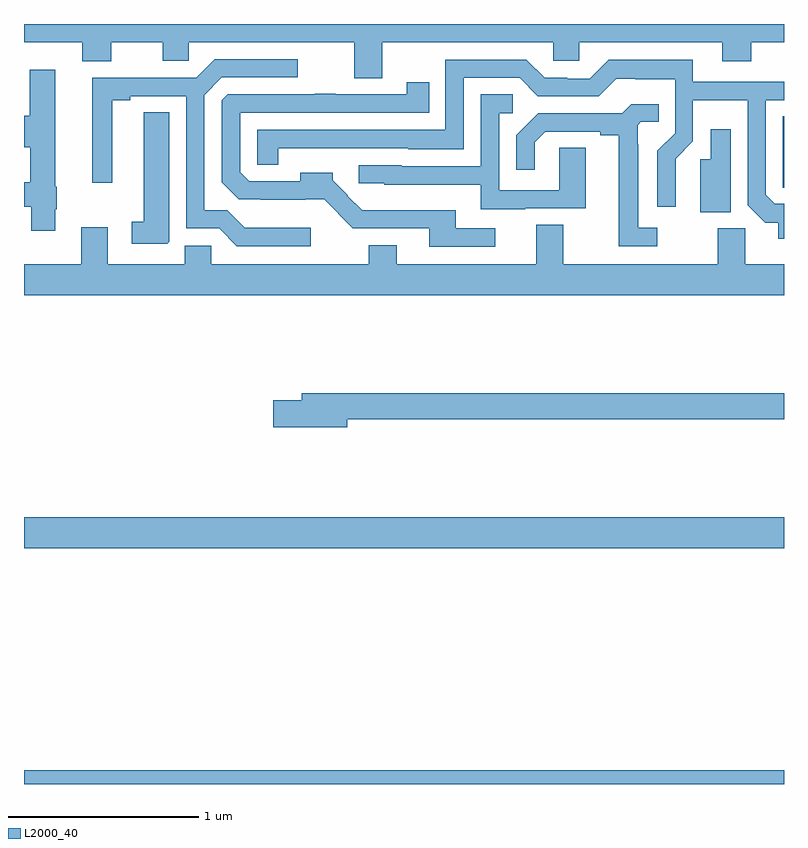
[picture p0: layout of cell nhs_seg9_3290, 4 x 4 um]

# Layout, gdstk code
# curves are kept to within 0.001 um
import gdstk
lib = gdstk.Library(unit=1e-6, precision=1e-09)
def R(c, l, rs):  # rectangles x0, y0, x1, y1
    for r in rs: c.add(gdstk.rectangle(r[:2], r[2:], *l))
def P(c, l, *ps):  # polygons
    for p in ps: c.add(gdstk.Polygon(p, *l))
L2000_40 = (2000, 40)

nhs_seg9_3290 = lib.new_cell('nhs_seg9_3290')
R(nhs_seg9_3290, L2000_40, [(299,1208.5,303,1208.572), (299,1209.74,303,1209.904)])
P(nhs_seg9_3290, L2000_40, [(300.885,1212.404),(301.785,1212.404),(301.785,1212.306),(301.923,1212.306),(301.923,1212.404),(302.675,1212.404),(302.675,1212.305),(302.828,1212.305),(302.828,1212.404),(303,1212.404),(303,1212.5),(299,1212.5),(299,1212.404),(299.306,1212.404),(299.306,1212.305),(299.458,1212.305),(299.458,1212.404),(299.729,1212.404),(299.729,1212.306),(299.868,1212.306),(299.868,1212.404),(300.737,1212.404),(300.737,1212.214),(300.885,1212.214)],
  [(300.508,1211.428),(300.161,1211.428),(300.07,1211.519),(299.949,1211.519),(299.949,1212.126),(300.042,1212.219),(300.442,1212.219),(300.442,1212.315),(300.005,1212.315),(299.906,1212.216),(299.36,1212.216),(299.36,1211.664),(299.464,1211.664),(299.464,1212.1),(299.56,1212.1),(299.56,1212.12),(299.853,1212.12),(299.853,1211.424),(300.027,1211.424),(300.12,1211.331),(300.508,1211.331)],
  [(303,1211.553),(302.952,1211.553),(302.904,1211.601),(302.904,1212.099),(303,1212.099),(303,1212.195),(302.521,1212.195),(302.521,1212.313),(302.077,1212.313),(301.977,1212.213),(301.86,1212.213),(301.86,1212.216),(301.74,1212.216),(301.644,1212.312),(301.218,1212.312),(301.218,1211.943),(300.228,1211.943),(300.228,1211.758),(300.337,1211.758),(300.337,1211.846),(301.023,1211.847),(301.023,1211.84),(301.314,1211.84),(301.314,1212.216),(301.608,1212.216),(301.704,1212.12),(302.025,1212.12),(302.118,1212.213),(302.218,1212.213),(302.218,1212.209),(302.427,1212.209),(302.427,1211.925),(302.334,1211.832),(302.334,1211.538),(302.43,1211.538),(302.429,1211.79),(302.52,1211.882),(302.52,1212.098),(302.808,1212.098),(302.808,1211.547),(302.901,1211.455),(302.969,1211.455),(302.969,1211.37),(303,1211.37)],
  [(299.164,1211.524),(299.172,1211.524),(299.172,1211.643),(299.164,1211.643),(299.164,1212.259),(299.03,1212.259),(299.03,1212.018),(299,1212.018),(299,1211.852),(299.033,1211.852),(299.033,1211.666),(299,1211.666),(299,1211.538),(299.038,1211.538),(299.038,1211.412),(299.164,1211.412)],
  [(301.48,1211.424),(301.273,1211.424),(301.273,1211.521),(300.88,1211.521),(300.88,1211.519),(300.779,1211.519),(300.702,1211.595),(300.705,1211.598),(300.626,1211.677),(300.626,1211.716),(300.455,1211.716),(300.455,1211.673),(300.186,1211.673),(300.138,1211.721),(300.138,1212.033),(301.133,1212.033),(301.133,1212.193),(301.015,1212.193),(301.015,1212.129),(300.641,1212.129),(300.641,1212.134),(300.529,1212.134),(300.529,1212.129),(300.072,1212.129),(300.042,1212.099),(300.042,1211.667),(300.131,1211.578),(300.247,1211.578),(300.247,1211.576),(300.581,1211.577),(300.655,1211.503),(300.653,1211.501),(300.729,1211.424),(301.133,1211.424),(301.133,1211.328),(301.48,1211.328)],
  [(301.639,1211.529),(301.957,1211.529),(301.957,1211.849),(301.818,1211.849),(301.818,1211.625),(301.5,1211.625),(301.5,1212.03),(301.573,1212.03),(301.573,1212.131),(301.404,1212.131),(301.404,1211.751),(300.987,1211.751),(300.987,1211.757),(300.762,1211.757),(300.762,1211.661),(300.897,1211.661),(300.897,1211.654),(301.403,1211.654),(301.403,1211.525),(301.639,1211.525)],
  [(302.332,1211.427),(302.233,1211.427),(302.233,1211.867),(302.229,1211.867),(302.229,1211.967),(302.247,1211.985),(302.342,1211.985),(302.342,1212.077),(302.196,1212.077),(302.148,1212.03),(301.706,1212.03),(301.59,1211.914),(301.59,1211.733),(301.687,1211.733),(301.687,1211.877),(301.744,1211.934),(302.033,1211.934),(302.033,1211.914),(302.129,1211.914),(302.129,1211.331),(302.332,1211.331)],
  [(299.764,1211.353),(299.764,1212.035),(299.63,1212.035),(299.63,1211.459),(299.568,1211.459),(299.568,1211.343),(299.754,1211.343)],
  [(303,1212.014),(302.993,1212.014),(302.993,1211.746),(302.994,1211.746),(302.994,1211.638),(303,1211.638)],
  [(302.719,1211.947),(302.615,1211.947),(302.615,1211.787),(302.558,1211.787),(302.558,1211.509),(302.719,1211.509)],
  [(303,1211.236),(302.796,1211.236),(302.796,1211.424),(302.65,1211.424),(302.65,1211.236),(301.837,1211.236),(301.837,1211.444),(301.697,1211.444),(301.697,1211.236),(300.961,1211.236),(300.961,1211.335),(300.814,1211.335),(300.814,1211.236),(299.985,1211.236),(299.985,1211.334),(299.846,1211.334),(299.846,1211.236),(299.44,1211.236),(299.44,1211.431),(299.3,1211.431),(299.3,1211.236),(299,1211.236),(299,1211.072),(303,1211.072)],
  [(300.7,1210.42),(303,1210.42),(303,1210.556),(300.461,1210.556),(300.461,1210.52),(300.312,1210.52),(300.312,1210.378),(300.7,1210.378)])

lib.write_gds('nhs_seg9_3290.gds')
